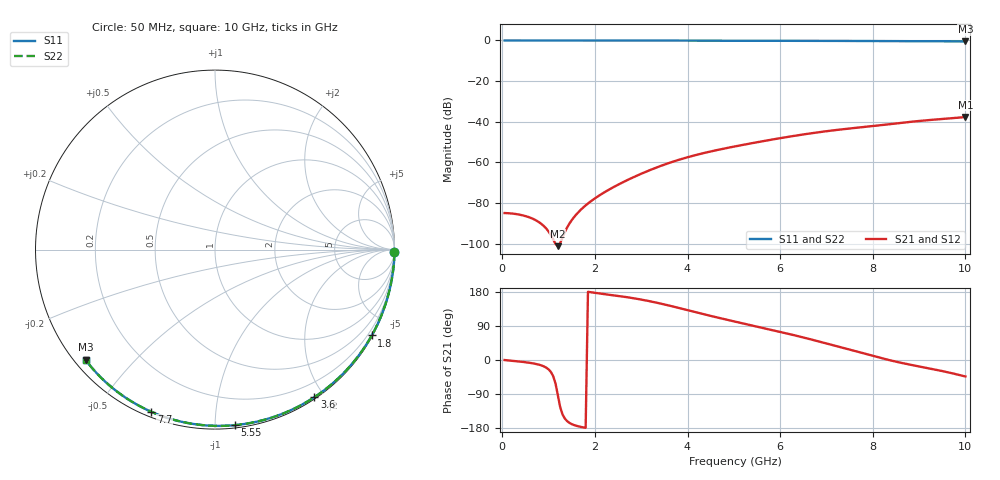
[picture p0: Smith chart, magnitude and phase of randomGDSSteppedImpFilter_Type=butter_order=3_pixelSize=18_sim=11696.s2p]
! freq	dB(S11)	phase(S11)	dB(S12)	phase(S12)
!  dB(S21)	phase(S21)	dB(S22)	phase(S22)
!S-par simulation data
#  GHz  S  DB  R 50
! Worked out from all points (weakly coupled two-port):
!   200 points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, 50 MHz to 10 GHz, reference 50 ohm
!   highest |S21| = -37.74 dB at 10 GHz (marker M1); lowest = -101.3 dB at 1.2 GHz (marker M2)
!   lowest |S11| = -0.5 dB at 10 GHz (marker M3), VSWR 36.83, Z = 1.54 - j18.4 ohm
!   |S11| at or under -10 dB: nowhere
!   |S22| runs from -0.5 to 0.0 dB; largest |S21 - S12| = 0
!   S11 on the Smith chart (normalised r, x): 50 MHz: open; 1.8 GHz: 0.03, -3.91; 3.6 GHz: 0.02, -1.88; 5.55 GHz: 0.02, -1.12; 7.7 GHz: 0.02, -0.68; 10 GHz: 0.03, -0.37
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0.05  -0.00 -0.8  -85.00 -0.1  -85.00 -0.1  -0.00 -0.8
0.6  -0.01 -9.7  -87.25 -7.6  -87.25 -7.6  -0.01 -9.7
1.2  -0.02 -19.3  -101.31 -92.9  -101.31 -92.9  -0.02 -19.3
1.75  -0.04 -27.9  -82.21 -177.9  -82.21 -177.9  -0.04 -27.9
1.8  -0.04 -28.7  -81.22 -179.1  -81.22 -179.1  -0.04 -28.7
1.85  -0.04 -29.5  -80.29 179.9  -80.29 179.9  -0.04 -29.5
1.9  -0.04 -30.3  -79.41 179.0  -79.41 179.0  -0.04 -30.3
2.25  -0.05 -35.7  -74.16 173.2  -74.16 173.2  -0.05 -35.7
2.65  -0.05 -41.8  -69.31 166.5  -69.31 166.5  -0.05 -41.8
3.05  -0.06 -47.9  -65.15 158.3  -65.15 158.3  -0.06 -47.9
3.4  -0.07 -53.1  -61.97 149.4  -61.97 149.4  -0.07 -53.1
3.6  -0.08 -56.0  -60.34 143.7  -60.34 143.7  -0.08 -56.0
3.9  -0.08 -60.4  -58.17 134.7  -58.17 134.7  -0.08 -60.4
4.25  -0.09 -65.5  -56.01 123.9  -56.01 123.9  -0.09 -65.5
5.05  -0.12 -76.7  -52.06 100.7  -52.06 100.7  -0.12 -76.7
5.55  -0.14 -83.5  -49.92 86.9  -49.92 86.9  -0.14 -83.6
6.1  -0.16 -90.9  -47.74 71.4  -47.74 71.4  -0.16 -90.9
6.7  -0.19 -98.8  -45.61 53.2  -45.61 53.2  -0.19 -98.8
7.7  -0.26 -111.4  -42.87 20.7  -42.87 20.7  -0.26 -111.4
8.35  -0.31 -119.5  -41.28 -0.1  -41.28 -0.1  -0.31 -119.5
9.05  -0.37 -128.1  -39.54 -18.1  -39.54 -18.1  -0.37 -128.1
10  -0.47 -139.6  -37.74 -43.5  -37.74 -43.5  -0.47 -139.6
